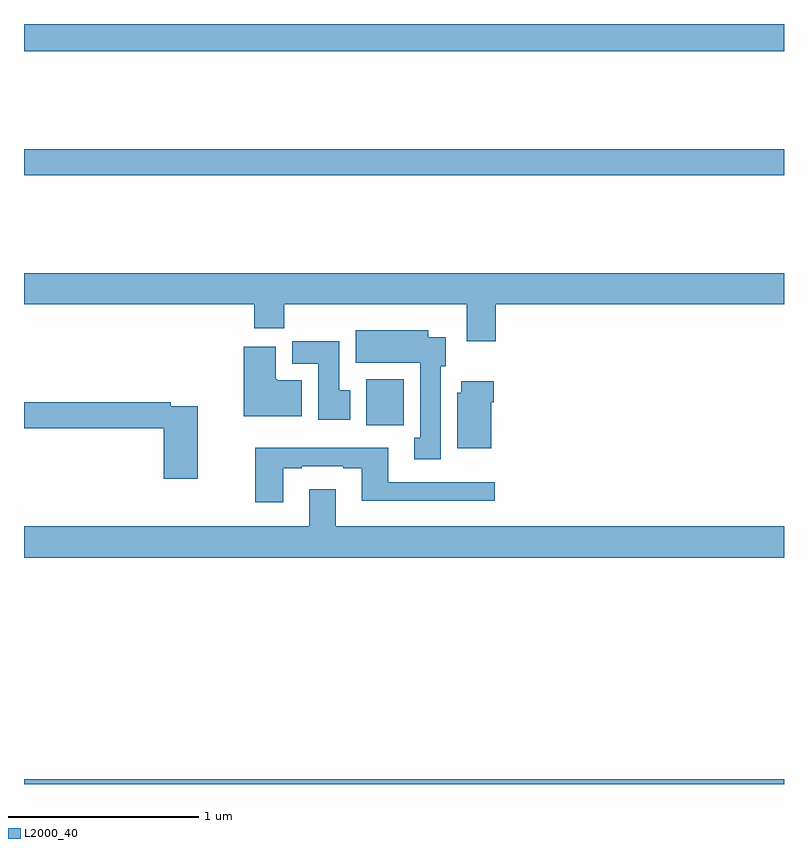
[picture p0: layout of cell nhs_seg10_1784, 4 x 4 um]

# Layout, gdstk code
import gdstk
lib = gdstk.Library(unit=1e-6, precision=1e-09)
def R(c, l, rs):  # rectangles x0, y0, x1, y1
    for r in rs: c.add(gdstk.rectangle(r[:2], r[2:], *l))
def P(c, l, *ps):  # polygons
    for p in ps: c.add(gdstk.Polygon(p, *l))
L2000_40 = (2000, 40)

nhs_seg10_1784 = lib.new_cell('nhs_seg10_1784')
R(nhs_seg10_1784, L2000_40, [(205,1256.5,209,1256.524), (206.801,1258.388,206.998,1258.63), (205,1259.704,209,1259.84), (205,1260.356,209,1260.5)])
P(nhs_seg10_1784, L2000_40, [(207.482,1259.024),(209,1259.024),(209,1259.188),(205,1259.188),(205,1259.024),(206.213,1259.024),(206.213,1258.9),(206.369,1258.9),(206.369,1259.024),(207.329,1259.024),(207.329,1258.83),(207.482,1258.83)],
  [(207.193,1258.698),(207.22,1258.698),(207.22,1258.852),(207.127,1258.852),(207.127,1258.888),(206.747,1258.888),(206.747,1258.718),(207.086,1258.718),(207.086,1258.322),(207.053,1258.322),(207.053,1258.209),(207.193,1258.209)],
  [(206.716,1258.572),(206.659,1258.572),(206.659,1258.83),(206.411,1258.83),(206.411,1258.712),(206.549,1258.712),(206.549,1258.416),(206.716,1258.416)],
  [(206.461,1258.624),(206.332,1258.624),(206.332,1258.63),(206.326,1258.63),(206.326,1258.801),(206.156,1258.801),(206.156,1258.436),(206.461,1258.436)],
  [(207.46,1258.508),(207.473,1258.508),(207.473,1258.621),(207.302,1258.621),(207.302,1258.56),(207.281,1258.56),(207.281,1258.268),(207.46,1258.268)],
  [(205.914,1258.488),(205.772,1258.488),(205.772,1258.508),(205,1258.508),(205,1258.372),(205.736,1258.372),(205.736,1258.107),(205.914,1258.107)],
  [(206.365,1258.161),(206.461,1258.161),(206.461,1258.173),(206.681,1258.173),(206.681,1258.161),(206.777,1258.161),(206.777,1257.992),(207.478,1257.992),(207.478,1258.089),(206.917,1258.089),(206.917,1258.27),(206.218,1258.27),(206.218,1257.984),(206.365,1257.984)],
  [(209,1257.856),(206.641,1257.856),(206.641,1258.051),(206.501,1258.051),(206.501,1257.856),(205,1257.856),(205,1257.692),(209,1257.692)])

lib.write_gds('nhs_seg10_1784.gds')
